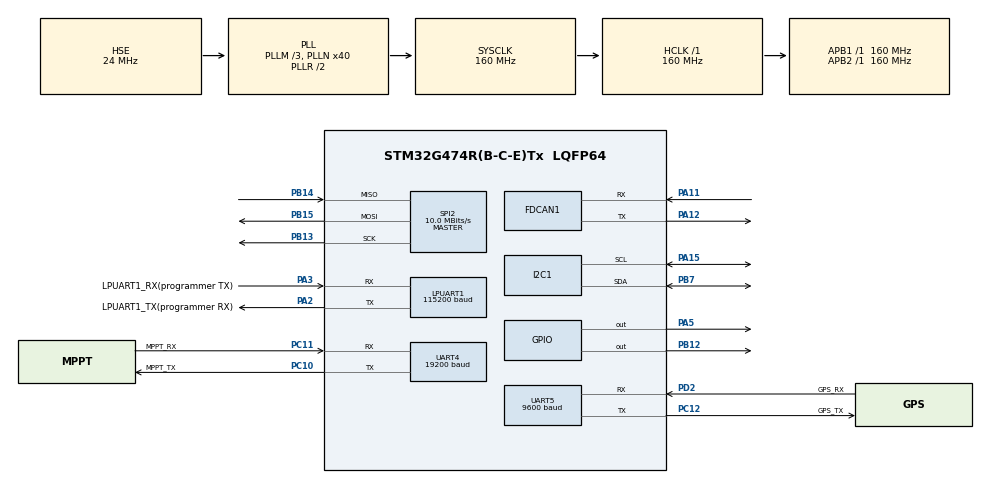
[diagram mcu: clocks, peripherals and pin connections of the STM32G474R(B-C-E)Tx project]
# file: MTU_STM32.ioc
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Dma.Request0=UART5_RX
Dma.Request1=UART4_RX
Dma.UART4_RX.1.Direction=DMA_PERIPH_TO_MEMORY
Dma.UART4_RX.1.EventEnable=DISABLE
Dma.UART4_RX.1.Instance=DMA1_Channel2
Dma.UART4_RX.1.MemDataAlignment=DMA_MDATAALIGN_BYTE
Dma.UART4_RX.1.MemInc=DMA_MINC_ENABLE
Dma.UART4_RX.1.Mode=DMA_NORMAL
Dma.UART4_RX.1.PeriphDataAlignment=DMA_PDATAALIGN_BYTE
Dma.UART4_RX.1.PeriphInc=DMA_PINC_DISABLE
Dma.UART4_RX.1.Polarity=HAL_DMAMUX_REQ_GEN_RISING
Dma.UART4_RX.1.Priority=DMA_PRIORITY_LOW
Dma.UART4_RX.1.RequestNumber=1
Dma.UART4_RX.1.SignalID=NONE
Dma.UART4_RX.1.SyncEnable=DISABLE
Dma.UART4_RX.1.SyncPolarity=HAL_DMAMUX_SYNC_NO_EVENT
Dma.UART4_RX.1.SyncRequestNumber=1
Dma.UART4_RX.1.SyncSignalID=NONE
Dma.UART5_RX.0.Direction=DMA_PERIPH_TO_MEMORY
Dma.UART5_RX.0.EventEnable=DISABLE
Dma.UART5_RX.0.Instance=DMA1_Channel1
Dma.UART5_RX.0.MemDataAlignment=DMA_MDATAALIGN_BYTE
Dma.UART5_RX.0.MemInc=DMA_MINC_ENABLE
Dma.UART5_RX.0.Mode=DMA_NORMAL
Dma.UART5_RX.0.PeriphDataAlignment=DMA_PDATAALIGN_BYTE
Dma.UART5_RX.0.PeriphInc=DMA_PINC_DISABLE
Dma.UART5_RX.0.Polarity=HAL_DMAMUX_REQ_GEN_RISING
Dma.UART5_RX.0.Priority=DMA_PRIORITY_LOW
Dma.UART5_RX.0.RequestNumber=1
Dma.UART5_RX.0.SignalID=NONE
Dma.UART5_RX.0.SyncEnable=DISABLE
Dma.UART5_RX.0.SyncPolarity=HAL_DMAMUX_SYNC_NO_EVENT
Dma.UART5_RX.0.SyncRequestNumber=1
Dma.UART5_RX.0.SyncSignalID=NONE
FDCAN1.AutoRetransmission=ENABLE
FDCAN1.CalculateBaudRateNominal=117647
FDCAN1.CalculateTimeBitNominal=8500
FDCAN1.CalculateTimeQuantumNominal=106.25
FDCAN1.DataSyncJumpWidth=12
FDCAN1.DataTimeSeg1=12
FDCAN1.DataTimeSeg2=12
FDCAN1.NominalPrescaler=17
FDCAN1.NominalSyncJumpWidth=13
FDCAN1.NominalTimeSeg1=39
FDCAN1.NominalTimeSeg2=40
FDCAN1.StdFiltersNbr=1
I2C1.Timing=0x30909DEC
LPUART1.BaudRate=115200
Mcu.Family=STM32G4
Mcu.Name=STM32G474R(B-C-E)Tx
Mcu.Package=LQFP64
NVIC.DMA1_Channel1_IRQn=true\:0\:0\:false\:false\:true\:false\:true\:true
NVIC.DMA1_Channel2_IRQn=true\:0\:0\:false\:false\:true\:false\:true\:true
NVIC.PriorityGroup=NVIC_PRIORITYGROUP_4
NVIC.UART4_IRQn=true\:0\:0\:false\:false\:true\:true\:true\:true
NVIC.UART5_IRQn=true\:0\:0\:false\:false\:true\:true\:true\:true
PA11.Mode=FDCAN_Activate
PA11.Signal=FDCAN1_RX
PA12.Mode=FDCAN_Activate
PA12.Signal=FDCAN1_TX
PA13.Mode=Serial_Wire
PA13.Signal=SYS_JTMS-SWDIO
PA14.Mode=Serial_Wire
PA14.Signal=SYS_JTCK-SWCLK
PA15.Mode=I2C
PA15.Signal=I2C1_SCL
PA2.GPIO_Label=LPUART1_TX(programmer RX)
PA2.Mode=Asynchronous
PA2.Signal=LPUART1_TX
PA3.GPIO_Label=LPUART1_RX(programmer TX)
PA3.Mode=Asynchronous
PA3.Signal=LPUART1_RX
PA5.Signal=GPIO_Output
PB12.GPIO_Speed=GPIO_SPEED_FREQ_VERY_HIGH
PB12.Signal=GPIO_Output
PB13.GPIO_PuPd=GPIO_NOPULL
PB13.GPIO_Speed=GPIO_SPEED_FREQ_VERY_HIGH
PB13.Mode=Full_Duplex_Master
PB13.Signal=SPI2_SCK
PB14.GPIO_PuPd=GPIO_NOPULL
PB14.GPIO_Speed=GPIO_SPEED_FREQ_VERY_HIGH
PB14.Mode=Full_Duplex_Master
PB14.Signal=SPI2_MISO
PB15.GPIO_PuPd=GPIO_NOPULL
PB15.GPIO_Speed=GPIO_SPEED_FREQ_VERY_HIGH
PB15.Mode=Full_Duplex_Master
PB15.Signal=SPI2_MOSI
PB3.Signal=SYS_JTDO-SWO
PB7.Mode=I2C
PB7.Signal=I2C1_SDA
PC10.GPIO_Label=MPPT_TX
PC10.Mode=Asynchronous
PC10.Signal=UART4_TX
PC11.GPIO_Label=MPPT_RX
PC11.Mode=Asynchronous
PC11.Signal=UART4_RX
PC12.GPIO_Label=GPS_TX
PC12.Mode=Asynchronous
PC12.Signal=UART5_TX
PC14-OSC32_IN.Mode=LSE-External-Oscillator
PC14-OSC32_IN.Signal=RCC_OSC32_IN
PC15-OSC32_OUT.Mode=LSE-External-Oscillator
PC15-OSC32_OUT.Signal=RCC_OSC32_OUT
PD2.GPIO_Label=GPS_RX
PD2.Mode=Asynchronous
PD2.Signal=UART5_RX
PF0-OSC_IN.Mode=HSE-External-Oscillator
PF0-OSC_IN.Signal=RCC_OSC_IN
PF1-OSC_OUT.Mode=HSE-External-Oscillator
PF1-OSC_OUT.Signal=RCC_OSC_OUT
ProjectManager.HeapSize=0x200
ProjectManager.StackSize=0x400
ProjectManager.TargetToolchain=STM32CubeIDE
RCC.ADC12Freq_Value=160000000
RCC.ADC345Freq_Value=160000000
RCC.AHBFreq_Value=160000000
RCC.APB1Freq_Value=160000000
RCC.APB1TimFreq_Value=160000000
RCC.APB2Freq_Value=160000000
RCC.APB2TimFreq_Value=160000000
RCC.CortexFreq_Value=160000000
RCC.EXTERNAL_CLOCK_VALUE=12288000
RCC.HCLKFreq_Value=160000000
RCC.HSE_VALUE=24000000
RCC.HSI48_VALUE=48000000
RCC.HSI_VALUE=16000000
RCC.PLLM=RCC_PLLM_DIV3
RCC.PLLN=40
RCC.PLLSourceVirtual=RCC_PLLSOURCE_HSE
RCC.SYSCLKFreq_VALUE=160000000
RCC.SYSCLKSource=RCC_SYSCLKSOURCE_PLLCLK
RCC.USBFreq_Value=160000000
RCC.VCOOutputFreq_Value=320000000
SPI2.BaudRatePrescaler=SPI_BAUDRATEPRESCALER_16
SPI2.CRCCalculation=SPI_CRCCALCULATION_ENABLE
SPI2.CalculateBaudRate=10.0 MBits/s
SPI2.DataSize=SPI_DATASIZE_8BIT
SPI2.Direction=SPI_DIRECTION_2LINES
SPI2.FirstBit=SPI_FIRSTBIT_MSB
SPI2.Mode=SPI_MODE_MASTER
SPI2.VirtualType=VM_MASTER
UART4.BaudRate=19200
UART5.BaudRate=9600
UART5.WordLength=WORDLENGTH_8B
VP_SYS_VS_DBSignals.Mode=DisableDeadBatterySignals
board=custom

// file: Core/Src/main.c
/* USER CODE BEGIN Header */
/**
  ******************************************************************************
  * @file           : main.c
  * @brief          : Main program body
  ******************************************************************************
  * @attention
  *
  * Copyright (c) 2023 STMicroelectronics.
  * All rights reserved.
  *
  * This software is licensed under terms that can be found in the LICENSE file
  * in the root directory of this software component.
  * If no LICENSE file comes with this software, it is provided AS-IS.
  *
  ******************************************************************************
  */
/* USER CODE END Header */
#include "main.h"

/* USER CODE BEGIN Includes */
#include "SpiConfig.h"
#include "ESP_SPI.h"
#include "CANparser.h"
#include "string.h"
#include "sensorParser.h"
/* USER CODE END Includes */

FDCAN_HandleTypeDef hfdcan1;

I2C_HandleTypeDef hi2c1;

UART_HandleTypeDef hlpuart1;
UART_HandleTypeDef huart4;
UART_HandleTypeDef huart5;
DMA_HandleTypeDef hdma_uart4_rx;
DMA_HandleTypeDef hdma_uart5_rx;

SPI_HandleTypeDef hspi2;

/* USER CODE BEGIN PV */

//DataFrame
DataFrame data;

//UART
#define GPS_BUF_SIZE 512
#define MPPT_BUF_SIZE 512

uint8_t GPS_buf[GPS_BUF_SIZE];
uint8_t MPPT_buf[MPPT_BUF_SIZE];

//CAN
FDCAN_TxHeaderTypeDef MpptHeader;
FDCAN_TxHeaderTypeDef GpsHeader;
FDCAN_TxHeaderTypeDef EspHeader;

FDCAN_RxHeaderTypeDef RxHeader;

uint32_t              TxMailbox;

/* USER CODE END PV */

void SystemClock_Config(void);
static void MX_GPIO_Init(void);
static void MX_DMA_Init(void);
static void MX_FDCAN1_Init(void);
static void MX_I2C1_Init(void);
static void MX_UART4_Init(void);
static void MX_UART5_Init(void);
static void MX_LPUART1_UART_Init(void);
static void MX_SPI2_Init(void);
/* USER CODE BEGIN PFP */

// UART
void HAL_UARTEx_RxEventCallback(UART_HandleTypeDef *huart, uint16_t Size) {
/*	if (huart->Instance == UART4) { //MPPT
		parseMPPT(&data, MPPT_buf, Size);
		HAL_UARTEx_ReceiveToIdle_DMA(&huart4, MPPT_buf, MPPT_BUF_SIZE);
	}
	if (huart->Instance == UART5) { //GPS
		parseGPS(&data, GPS_buf, Size);
		HAL_UARTEx_ReceiveToIdle_DMA(&huart5, GPS_buf, GPS_BUF_SIZE);
	}*/
}

// processes CANBUS messages
void HAL_FDCAN_RxFifo0Callback(FDCAN_HandleTypeDef *hfdcan, uint32_t RxFifo0ITs) {
	uint8_t RxData[8];
	HAL_FDCAN_GetRxMessage(hfdcan, FDCAN_RX_FIFO0, &RxHeader, RxData);
	CAN_parseMessage(RxHeader.Identifier, RxData, &data);
}

void sendToCan() {
	uint8_t TxData[8];
	int32_t ind = 0;
	buffer_append_float16(TxData, data.gps.distance, 100, &ind);
	buffer_append_float16(TxData,   data.gps.speed, 100, &ind);
	buffer_append_uint8(TxData,   data.gps.fix, &ind);
	buffer_append_uint8(TxData,   data.gps.antenna, &ind);

	HAL_FDCAN_AddMessageToTxFifoQ(&hfdcan1, &GpsHeader, TxData);

	ind = 0;
	buffer_append_float16(TxData,  data.mppt.voltage, 100, &ind);
	buffer_append_uint16(TxData,  data.mppt.power, &ind);
	buffer_append_float16(TxData,  data.mppt.current, 100, &ind);
	buffer_append_uint8(TxData,    data.mppt.error, &ind);
	buffer_append_uint8(TxData,    data.mppt.cs, &ind);

	HAL_FDCAN_AddMessageToTxFifoQ(&hfdcan1, &MpptHeader, TxData);

	ind = 0;
	buffer_append_uint8(TxData, data.telemetry.espStatus, &ind);
	buffer_append_uint8(TxData, data.telemetry.internetConnection, &ind);

	HAL_FDCAN_AddMessageToTxFifoQ(&hfdcan1, &EspHeader, TxData);
}

/* USER CODE END PFP */

int main(void)
{

  /* MCU Configuration--------------------------------------------------------*/

  /* Reset of all peripherals, Initializes the Flash interface and the Systick. */
  HAL_Init();

  /* Configure the system clock */
  SystemClock_Config();

  /* Initialize all configured peripherals */
  MX_GPIO_Init();
  MX_DMA_Init();
  MX_FDCAN1_Init();
  MX_I2C1_Init();
  MX_UART4_Init();
  MX_UART5_Init();
  MX_LPUART1_UART_Init();
  MX_SPI2_Init();
  /* USER CODE BEGIN 2 */

  //UART
  HAL_UARTEx_ReceiveToIdle_DMA(&huart4, MPPT_buf, MPPT_BUF_SIZE);
  HAL_UARTEx_ReceiveToIdle_DMA(&huart5, GPS_buf, GPS_BUF_SIZE);

  //CAN INIT
  HAL_FDCAN_Start(&hfdcan1);
  HAL_FDCAN_ActivateNotification(&hfdcan1, FDCAN_IT_RX_FIFO0_NEW_MESSAGE, 0);

  MpptHeader.Identifier 	= 0x711;
  MpptHeader.IdType 		= FDCAN_STANDARD_ID;
  MpptHeader.TxFrameType 	= FDCAN_DATA_FRAME;
  MpptHeader.DataLength 	= FDCAN_DLC_BYTES_8;
  MpptHeader.FDFormat		= FDCAN_CLASSIC_CAN;

  GpsHeader.Identifier 		= 0x701;
  GpsHeader.IdType 			= FDCAN_STANDARD_ID;
  GpsHeader.TxFrameType 	= FDCAN_DATA_FRAME;
  GpsHeader.DataLength 		= FDCAN_DLC_BYTES_6;
  GpsHeader.FDFormat		= FDCAN_CLASSIC_CAN;

  EspHeader.Identifier 		= 0x751;
  EspHeader.IdType 			= FDCAN_STANDARD_ID;
  EspHeader.TxFrameType 	= FDCAN_DATA_FRAME;
  EspHeader.DataLength 		= FDCAN_DLC_BYTES_2;
  EspHeader.FDFormat		= FDCAN_CLASSIC_CAN;

  data.motor.battery_current = 12.34;
  data.motor.battery_voltage = 46.23;

  data.mppt.power = 1203;
  data.gps.speed = 25.3;

  /* USER CODE END 2 */

  /* Infinite loop */
  /* USER CODE BEGIN WHILE */
  while (1)
  {
	HAL_Delay(1000);
	data.gps.speed += 0.1;
	sendFrameToEsp(&hspi2, &data);
	sendToCan();
    /* USER CODE END WHILE */

  }
}

void SystemClock_Config(void)
{
  RCC_OscInitTypeDef RCC_OscInitStruct = {0};
  RCC_ClkInitTypeDef RCC_ClkInitStruct = {0};

  /** Configure the main internal regulator output voltage
  */
  HAL_PWREx_ControlVoltageScaling(PWR_REGULATOR_VOLTAGE_SCALE1_BOOST);

  /** Initializes the RCC Oscillators according to the specified parameters
  * in the RCC_OscInitTypeDef structure.
  */
  RCC_OscInitStruct.OscillatorType = RCC_OSCILLATORTYPE_HSE;
  RCC_OscInitStruct.HSEState = RCC_HSE_ON;
  RCC_OscInitStruct.PLL.PLLState = RCC_PLL_ON;
  RCC_OscInitStruct.PLL.PLLSource = RCC_PLLSOURCE_HSE;
  RCC_OscInitStruct.PLL.PLLM = RCC_PLLM_DIV3;
  RCC_OscInitStruct.PLL.PLLN = 40;
  RCC_OscInitStruct.PLL.PLLP = RCC_PLLP_DIV2;
  RCC_OscInitStruct.PLL.PLLQ = RCC_PLLQ_DIV2;
  RCC_OscInitStruct.PLL.PLLR = RCC_PLLR_DIV2;
  if (HAL_RCC_OscConfig(&RCC_OscInitStruct) != HAL_OK)
  {
    Error_Handler();
  }

  /** Initializes the CPU, AHB and APB buses clocks
  */
  RCC_ClkInitStruct.ClockType = RCC_CLOCKTYPE_HCLK|RCC_CLOCKTYPE_SYSCLK
                              |RCC_CLOCKTYPE_PCLK1|RCC_CLOCKTYPE_PCLK2;
  RCC_ClkInitStruct.SYSCLKSource = RCC_SYSCLKSOURCE_PLLCLK;
  RCC_ClkInitStruct.AHBCLKDivider = RCC_SYSCLK_DIV1;
  RCC_ClkInitStruct.APB1CLKDivider = RCC_HCLK_DIV1;
  RCC_ClkInitStruct.APB2CLKDivider = RCC_HCLK_DIV1;

  if (HAL_RCC_ClockConfig(&RCC_ClkInitStruct, FLASH_LATENCY_4) != HAL_OK)
  {
    Error_Handler();
  }
}

static void MX_FDCAN1_Init(void)
{

  hfdcan1.Instance = FDCAN1;
  hfdcan1.Init.ClockDivider = FDCAN_CLOCK_DIV1;
  hfdcan1.Init.FrameFormat = FDCAN_FRAME_CLASSIC;
  hfdcan1.Init.Mode = FDCAN_MODE_NORMAL;
  hfdcan1.Init.AutoRetransmission = ENABLE;
  hfdcan1.Init.TransmitPause = DISABLE;
  hfdcan1.Init.ProtocolException = DISABLE;
  hfdcan1.Init.NominalPrescaler = 17;
  hfdcan1.Init.NominalSyncJumpWidth = 13;
  hfdcan1.Init.NominalTimeSeg1 = 39;
  hfdcan1.Init.NominalTimeSeg2 = 40;
  hfdcan1.Init.DataPrescaler = 1;
  hfdcan1.Init.DataSyncJumpWidth = 12;
  hfdcan1.Init.DataTimeSeg1 = 12;
  hfdcan1.Init.DataTimeSeg2 = 12;
  hfdcan1.Init.StdFiltersNbr = 1;
  hfdcan1.Init.ExtFiltersNbr = 0;
  hfdcan1.Init.TxFifoQueueMode = FDCAN_TX_FIFO_OPERATION;
  if (HAL_FDCAN_Init(&hfdcan1) != HAL_OK)
  {
    Error_Handler();
  }

}

static void MX_I2C1_Init(void)
{

  hi2c1.Instance = I2C1;
  hi2c1.Init.Timing = 0x30909DEC;
  hi2c1.Init.OwnAddress1 = 0;
  hi2c1.Init.AddressingMode = I2C_ADDRESSINGMODE_7BIT;
  hi2c1.Init.DualAddressMode = I2C_DUALADDRESS_DISABLE;
  hi2c1.Init.OwnAddress2 = 0;
  hi2c1.Init.OwnAddress2Masks = I2C_OA2_NOMASK;
  hi2c1.Init.GeneralCallMode = I2C_GENERALCALL_DISABLE;
  hi2c1.Init.NoStretchMode = I2C_NOSTRETCH_DISABLE;
  if (HAL_I2C_Init(&hi2c1) != HAL_OK)
  {
    Error_Handler();
  }

  /** Configure Analogue filter
  */
  if (HAL_I2CEx_ConfigAnalogFilter(&hi2c1, I2C_ANALOGFILTER_ENABLE) != HAL_OK)
  {
    Error_Handler();
  }

  /** Configure Digital filter
  */
  if (HAL_I2CEx_ConfigDigitalFilter(&hi2c1, 0) != HAL_OK)
  {
    Error_Handler();
  }

}

static void MX_LPUART1_UART_Init(void)
{

  hlpuart1.Instance = LPUART1;
  hlpuart1.Init.BaudRate = 115200;
  hlpuart1.Init.WordLength = UART_WORDLENGTH_8B;
  hlpuart1.Init.StopBits = UART_STOPBITS_1;
  hlpuart1.Init.Parity = UART_PARITY_NONE;
  hlpuart1.Init.Mode = UART_MODE_TX_RX;
  hlpuart1.Init.HwFlowCtl = UART_HWCONTROL_NONE;
  hlpuart1.Init.OneBitSampling = UART_ONE_BIT_SAMPLE_DISABLE;
  hlpuart1.Init.ClockPrescaler = UART_PRESCALER_DIV1;
  hlpuart1.AdvancedInit.AdvFeatureInit = UART_ADVFEATURE_NO_INIT;
  if (HAL_UART_Init(&hlpuart1) != HAL_OK)
  {
    Error_Handler();
  }
  if (HAL_UARTEx_SetTxFifoThreshold(&hlpuart1, UART_TXFIFO_THRESHOLD_1_8) != HAL_OK)
  {
    Error_Handler();
  }
  if (HAL_UARTEx_SetRxFifoThreshold(&hlpuart1, UART_RXFIFO_THRESHOLD_1_8) != HAL_OK)
  {
    Error_Handler();
  }
  if (HAL_UARTEx_DisableFifoMode(&hlpuart1) != HAL_OK)
  {
    Error_Handler();
  }

}

static void MX_UART4_Init(void)
{

  huart4.Instance = UART4;
  huart4.Init.BaudRate = 19200;
  huart4.Init.WordLength = UART_WORDLENGTH_8B;
  huart4.Init.StopBits = UART_STOPBITS_1;
  huart4.Init.Parity = UART_PARITY_NONE;
  huart4.Init.Mode = UART_MODE_TX_RX;
  huart4.Init.HwFlowCtl = UART_HWCONTROL_NONE;
  huart4.Init.OverSampling = UART_OVERSAMPLING_16;
  huart4.Init.OneBitSampling = UART_ONE_BIT_SAMPLE_DISABLE;
  huart4.Init.ClockPrescaler = UART_PRESCALER_DIV1;
  huart4.AdvancedInit.AdvFeatureInit = UART_ADVFEATURE_NO_INIT;
  if (HAL_UART_Init(&huart4) != HAL_OK)
  {
    Error_Handler();
  }
  if (HAL_UARTEx_SetTxFifoThreshold(&huart4, UART_TXFIFO_THRESHOLD_1_8) != HAL_OK)
  {
    Error_Handler();
  }
  if (HAL_UARTEx_SetRxFifoThreshold(&huart4, UART_RXFIFO_THRESHOLD_1_8) != HAL_OK)
  {
    Error_Handler();
  }
  if (HAL_UARTEx_DisableFifoMode(&huart4) != HAL_OK)
  {
    Error_Handler();
  }

}

static void MX_UART5_Init(void)
{

  huart5.Instance = UART5;
  huart5.Init.BaudRate = 9600;
  huart5.Init.WordLength = UART_WORDLENGTH_8B;
  huart5.Init.StopBits = UART_STOPBITS_1;
  huart5.Init.Parity = UART_PARITY_NONE;
  huart5.Init.Mode = UART_MODE_TX_RX;
  huart5.Init.HwFlowCtl = UART_HWCONTROL_NONE;
  huart5.Init.OverSampling = UART_OVERSAMPLING_16;
  huart5.Init.OneBitSampling = UART_ONE_BIT_SAMPLE_DISABLE;
  huart5.Init.ClockPrescaler = UART_PRESCALER_DIV1;
  huart5.AdvancedInit.AdvFeatureInit = UART_ADVFEATURE_NO_INIT;
  if (HAL_UART_Init(&huart5) != HAL_OK)
  {
    Error_Handler();
  }
  if (HAL_UARTEx_SetTxFifoThreshold(&huart5, UART_TXFIFO_THRESHOLD_1_8) != HAL_OK)
  {
    Error_Handler();
  }
  if (HAL_UARTEx_SetRxFifoThreshold(&huart5, UART_RXFIFO_THRESHOLD_1_8) != HAL_OK)
  {
    Error_Handler();
  }
  if (HAL_UARTEx_DisableFifoMode(&huart5) != HAL_OK)
  {
    Error_Handler();
  }

}

static void MX_SPI2_Init(void)
{

  /* SPI2 parameter configuration*/
  hspi2.Instance = SPI2;
  hspi2.Init.Mode = SPI_MODE_MASTER;
  hspi2.Init.Direction = SPI_DIRECTION_2LINES;
  hspi2.Init.DataSize = SPI_DATASIZE_8BIT;
  hspi2.Init.CLKPolarity = SPI_POLARITY_LOW;
  hspi2.Init.CLKPhase = SPI_PHASE_1EDGE;
  hspi2.Init.NSS = SPI_NSS_SOFT;
  hspi2.Init.BaudRatePrescaler = SPI_BAUDRATEPRESCALER_16;
  hspi2.Init.FirstBit = SPI_FIRSTBIT_MSB;
  hspi2.Init.TIMode = SPI_TIMODE_DISABLE;
  hspi2.Init.CRCCalculation = SPI_CRCCALCULATION_ENABLE;
  hspi2.Init.CRCPolynomial = 7;
  hspi2.Init.CRCLength = SPI_CRC_LENGTH_DATASIZE;
  hspi2.Init.NSSPMode = SPI_NSS_PULSE_ENABLE;
  if (HAL_SPI_Init(&hspi2) != HAL_OK)
  {
    Error_Handler();
  }

}

static void MX_DMA_Init(void)
{

  /* DMA controller clock enable */
  __HAL_RCC_DMAMUX1_CLK_ENABLE();
  __HAL_RCC_DMA1_CLK_ENABLE();

  /* DMA interrupt init */
  /* DMA1_Channel1_IRQn interrupt configuration */
  HAL_NVIC_SetPriority(DMA1_Channel1_IRQn, 0, 0);
  HAL_NVIC_EnableIRQ(DMA1_Channel1_IRQn);
  /* DMA1_Channel2_IRQn interrupt configuration */
  HAL_NVIC_SetPriority(DMA1_Channel2_IRQn, 0, 0);
  HAL_NVIC_EnableIRQ(DMA1_Channel2_IRQn);

}

static void MX_GPIO_Init(void)
{
  GPIO_InitTypeDef GPIO_InitStruct = {0};

  /* GPIO Ports Clock Enable */
  __HAL_RCC_GPIOC_CLK_ENABLE();
  __HAL_RCC_GPIOF_CLK_ENABLE();
  __HAL_RCC_GPIOA_CLK_ENABLE();
  __HAL_RCC_GPIOB_CLK_ENABLE();
  __HAL_RCC_GPIOD_CLK_ENABLE();

  /*Configure GPIO pin Output Level */
  HAL_GPIO_WritePin(GPIOA, GPIO_PIN_5, GPIO_PIN_RESET);

  /*Configure GPIO pin Output Level */
  HAL_GPIO_WritePin(GPIOB, GPIO_PIN_12, GPIO_PIN_RESET);

  /*Configure GPIO pin : PA5 */
  GPIO_InitStruct.Pin = GPIO_PIN_5;
  GPIO_InitStruct.Mode = GPIO_MODE_OUTPUT_PP;
  GPIO_InitStruct.Pull = GPIO_NOPULL;
  GPIO_InitStruct.Speed = GPIO_SPEED_FREQ_LOW;
  HAL_GPIO_Init(GPIOA, &GPIO_InitStruct);

  /*Configure GPIO pin : PB12 */
  GPIO_InitStruct.Pin = GPIO_PIN_12;
  GPIO_InitStruct.Mode = GPIO_MODE_OUTPUT_PP;
  GPIO_InitStruct.Pull = GPIO_NOPULL;
  GPIO_InitStruct.Speed = GPIO_SPEED_FREQ_VERY_HIGH;
  HAL_GPIO_Init(GPIOB, &GPIO_InitStruct);

}

void Error_Handler(void)
{
  __disable_irq();
  while (1)
  {
  }
}
